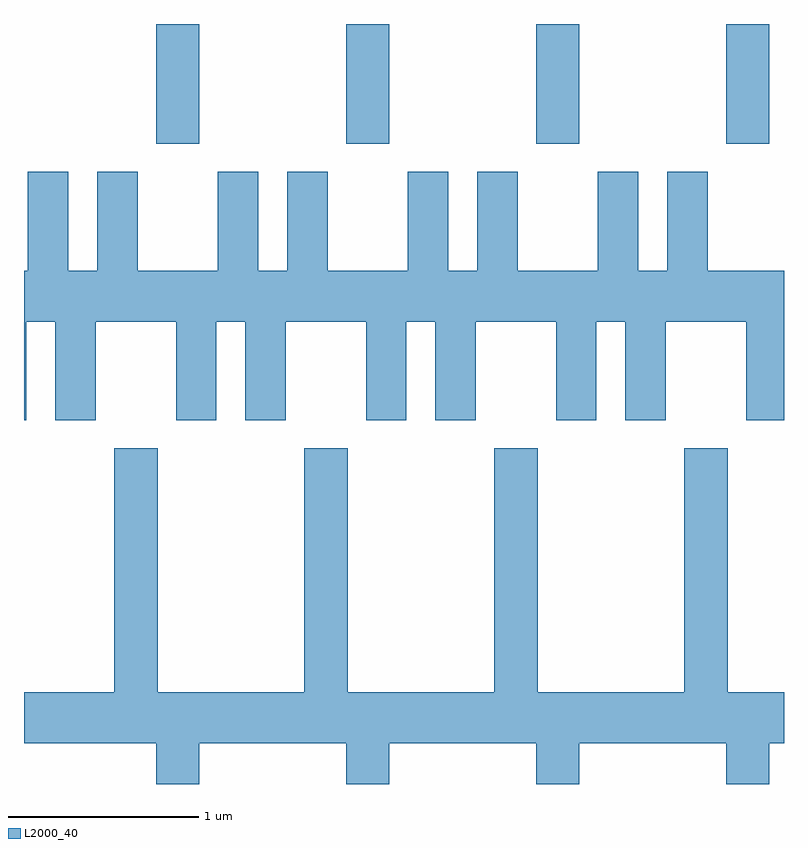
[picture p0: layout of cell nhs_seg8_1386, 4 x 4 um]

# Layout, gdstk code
import gdstk
lib = gdstk.Library(unit=1e-6, precision=1e-09)
def R(c, l, rs):  # rectangles x0, y0, x1, y1
    for r in rs: c.add(gdstk.rectangle(r[:2], r[2:], *l))
def A(c, l, x, y, w, h, nx, ny, dx, dy):  # array of equal rectangles
    R(c, l, [(x+i*dx, y+j*dy, x+i*dx+w, y+j*dy+h) for i in range(nx) for j in range(ny)])
def P(c, l, *ps):  # polygons
    for p in ps: c.add(gdstk.Polygon(p, *l))
L2000_40 = (2000, 40)

nhs_seg8_1386 = lib.new_cell('nhs_seg8_1386')
A(nhs_seg8_1386, L2000_40, 226.306, 1921.711, 0.228, 0.631, 4, 1, 1, 0)
P(nhs_seg8_1386, L2000_40, [(226.411,1920.256),(226.624,1920.256),(226.624,1920.776),(226.776,1920.776),(226.776,1920.256),(226.989,1920.256),(226.989,1920.776),(227.411,1920.776),(227.411,1920.256),(227.624,1920.256),(227.624,1920.776),(227.776,1920.776),(227.776,1920.256),(227.989,1920.256),(227.989,1920.776),(228.411,1920.776),(228.411,1920.256),(228.624,1920.256),(228.624,1920.776),(228.776,1920.776),(228.776,1920.256),(228.989,1920.256),(228.989,1920.776),(229.411,1920.776),(229.411,1920.256),(229.611,1920.256),(229.611,1921.044),(229.209,1921.044),(229.209,1921.564),(228.996,1921.564),(228.996,1921.044),(228.844,1921.044),(228.844,1921.564),(228.631,1921.564),(228.631,1921.044),(228.209,1921.044),(228.209,1921.564),(227.996,1921.564),(227.996,1921.044),(227.844,1921.044),(227.844,1921.564),(227.631,1921.564),(227.631,1921.044),(227.209,1921.044),(227.209,1921.564),(226.996,1921.564),(226.996,1921.044),(226.844,1921.044),(226.844,1921.564),(226.631,1921.564),(226.631,1921.044),(226.209,1921.044),(226.209,1921.564),(225.996,1921.564),(225.996,1921.044),(225.844,1921.044),(225.844,1921.564),(225.631,1921.564),(225.631,1921.044),(225.611,1921.044),(225.611,1920.256),(225.624,1920.256),(225.624,1920.776),(225.776,1920.776),(225.776,1920.256),(225.989,1920.256),(225.989,1920.776),(226.411,1920.776)],
  [(226.534,1918.556),(227.306,1918.556),(227.306,1918.342),(227.534,1918.342),(227.534,1918.556),(228.306,1918.556),(228.306,1918.342),(228.534,1918.342),(228.534,1918.556),(229.306,1918.556),(229.306,1918.342),(229.534,1918.342),(229.534,1918.556),(229.611,1918.556),(229.611,1918.824),(229.314,1918.824),(229.314,1920.109),(229.086,1920.109),(229.086,1918.824),(228.314,1918.824),(228.314,1920.109),(228.086,1920.109),(228.086,1918.824),(227.314,1918.824),(227.314,1920.109),(227.086,1920.109),(227.086,1918.824),(226.314,1918.824),(226.314,1920.109),(226.086,1920.109),(226.086,1918.824),(225.611,1918.824),(225.611,1918.556),(226.306,1918.556),(226.306,1918.342),(226.534,1918.342)])

lib.write_gds('nhs_seg8_1386.gds')
